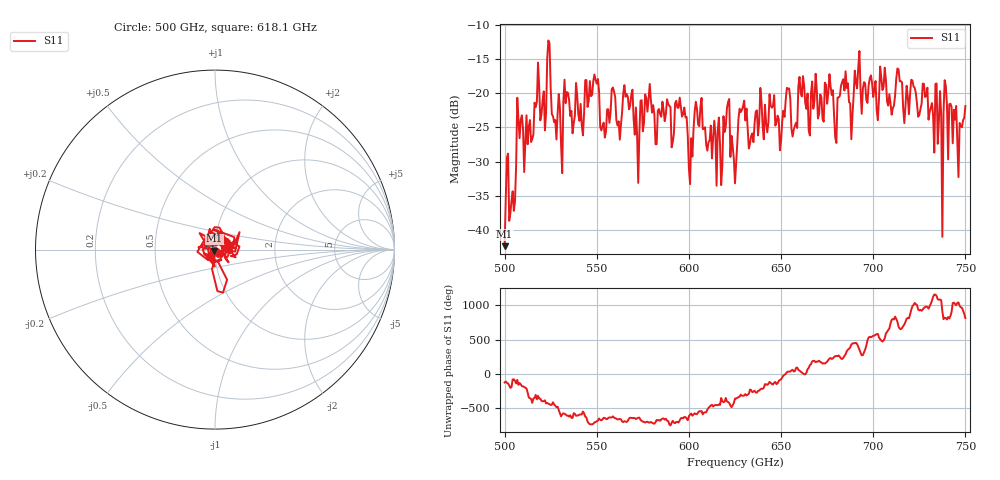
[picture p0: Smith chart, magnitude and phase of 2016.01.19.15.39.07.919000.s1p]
!Created with skrf (http://scikit-rf.org).
# GHz S RI R 50.0
!freq ReS11 ImS11
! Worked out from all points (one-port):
!   401 points, 500 GHz to 750 GHz, reference 50 ohm
!   lowest |S11| = -42.4 dB at 500 GHz (marker M1), VSWR 1.02, Z = 49.5 - j0.591 ohm
!   |S11| at or under -10 dB: start of sweep to end of sweep
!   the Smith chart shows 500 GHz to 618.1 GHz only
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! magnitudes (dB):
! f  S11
! 500 GHz  -42.4
! 504.4 GHz  -34.4
! 508.1 GHz  -26.6
! 513.8 GHz  -23.9
! 523.8 GHz  -12.3
! 526.9 GHz  -24.2
! 531.2 GHz  -31.7
! 549.4 GHz  -18.1
! 553.1 GHz  -24.8
! 558.8 GHz  -19.1
! 562.5 GHz  -26.8
! 593.8 GHz  -22.1
! 600.6 GHz  -33.3
! 603.8 GHz  -21.2
! 616.2 GHz  -23.6
! 620.6 GHz  -22.2
! 625 GHz  -33.2
! 628.8 GHz  -22.4
! 633.8 GHz  -26.3
! 653.8 GHz  -19.3
! 656.2 GHz  -26.3
! 660.6 GHz  -20.0
! 687.5 GHz  -21.5
! 691.2 GHz  -19.3
! 718.8 GHz  -20.5
! 735 GHz  -27.4
! 736.2 GHz  -19.7
! 750 GHz  -21.9
